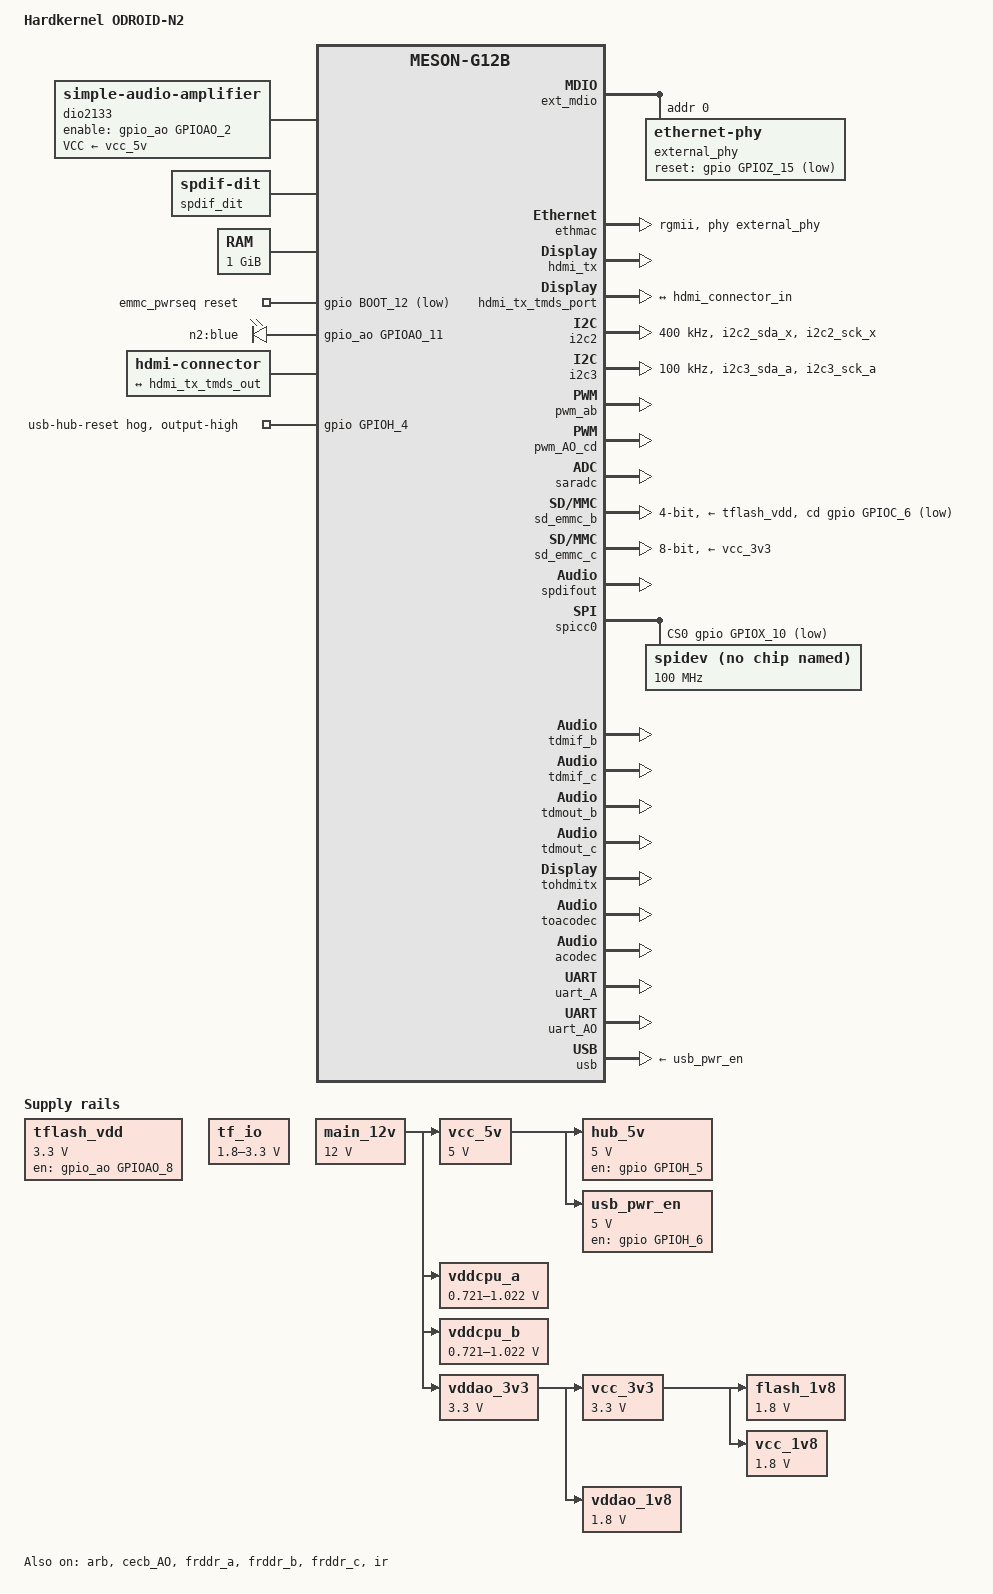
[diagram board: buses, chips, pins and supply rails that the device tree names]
// SPDX-License-Identifier: (GPL-2.0+ OR MIT)
/*
 * Copyright (c) 2019 BayLibre, SAS
 * Author: Neil Armstrong <narmstrong@baylibre.com>
 */

/dts-v1/;

#include "meson-g12b-s922x.dtsi"
#include <dt-bindings/input/input.h>
#include <dt-bindings/gpio/meson-g12a-gpio.h>
#include <dt-bindings/sound/meson-g12a-tohdmitx.h>
#include <dt-bindings/sound/meson-g12a-toacodec.h>

/ {
	compatible = "hardkernel,odroid-n2", "amlogic,g12b";
	model = "Hardkernel ODROID-N2";

	aliases {
		ethernet0 = &ethmac;
		i2c0 = &i2c2;
		i2c1 = &i2c3;
		serial0 = &uart_AO;
		serial1 = &uart_A;
		spi0 = &spicc0;
	};

	dio2133: audio-amplifier-0 {
		compatible = "simple-audio-amplifier";
		enable-gpios = <&gpio_ao GPIOAO_2 GPIO_ACTIVE_HIGH>;
		VCC-supply = <&vcc_5v>;
		sound-name-prefix = "AMP";
	};

	spdif_dit: audio-codec-1 {
		#sound-dai-cells = <0>;
		compatible = "linux,spdif-dit";
		status = "okay";
		sound-name-prefix = "DIT";
	};

	chosen {
		stdout-path = "serial0:115200n8";
	};

	memory@0 {
		device_type = "memory";
		reg = <0x0 0x0 0x0 0x40000000>;
	};

	emmc_pwrseq: emmc-pwrseq {
		compatible = "mmc-pwrseq-emmc";
		reset-gpios = <&gpio BOOT_12 GPIO_ACTIVE_LOW>;
	};

	leds {
		compatible = "gpio-leds";

		blue {
			label = "n2:blue";
			gpios = <&gpio_ao GPIOAO_11 GPIO_ACTIVE_HIGH>;
			linux,default-trigger = "heartbeat";
		};
	};

	tflash_vdd: regulator-tflash_vdd {
		compatible = "regulator-fixed";

		regulator-name = "TFLASH_VDD";
		regulator-min-microvolt = <3300000>;
		regulator-max-microvolt = <3300000>;

		gpio = <&gpio_ao GPIOAO_8 GPIO_ACTIVE_HIGH>;
		enable-active-high;
		regulator-always-on;
	};

	tf_io: gpio-regulator-tf_io {
		compatible = "regulator-gpio";

		regulator-name = "TF_IO";
		regulator-min-microvolt = <1800000>;
		regulator-max-microvolt = <3300000>;

		gpios = <&gpio_ao GPIOAO_9 GPIO_ACTIVE_HIGH>;
		gpios-states = <0>;

		states = <3300000 0>,
			 <1800000 1>;
	};

	flash_1v8: regulator-flash_1v8 {
		compatible = "regulator-fixed";
		regulator-name = "FLASH_1V8";
		regulator-min-microvolt = <1800000>;
		regulator-max-microvolt = <1800000>;
		vin-supply = <&vcc_3v3>;
		regulator-always-on;
	};

	main_12v: regulator-main_12v {
		compatible = "regulator-fixed";
		regulator-name = "12V";
		regulator-min-microvolt = <12000000>;
		regulator-max-microvolt = <12000000>;
		regulator-always-on;
	};

	vcc_5v: regulator-vcc_5v {
		compatible = "regulator-fixed";
		regulator-name = "5V";
		regulator-min-microvolt = <5000000>;
		regulator-max-microvolt = <5000000>;
		regulator-always-on;
		vin-supply = <&main_12v>;
	};

	vcc_1v8: regulator-vcc_1v8 {
		compatible = "regulator-fixed";
		regulator-name = "VCC_1V8";
		regulator-min-microvolt = <1800000>;
		regulator-max-microvolt = <1800000>;
		vin-supply = <&vcc_3v3>;
		regulator-always-on;
	};

	vcc_3v3: regulator-vcc_3v3 {
		compatible = "regulator-fixed";
		regulator-name = "VCC_3V3";
		regulator-min-microvolt = <3300000>;
		regulator-max-microvolt = <3300000>;
		vin-supply = <&vddao_3v3>;
		regulator-always-on;
		/* FIXME: actually controlled by VDDCPU_B_EN */
	};

	vddcpu_a: regulator-vddcpu-a {
		/*
		 * MP8756GD Regulator.
		 */
		compatible = "pwm-regulator";

		regulator-name = "VDDCPU_A";
		regulator-min-microvolt = <721000>;
		regulator-max-microvolt = <1022000>;

		vin-supply = <&main_12v>;

		pwms = <&pwm_ab 0 1250 0>;
		pwm-dutycycle-range = <100 0>;

		regulator-boot-on;
		regulator-always-on;
	};

	vddcpu_b: regulator-vddcpu-b {
		/*
		 * Silergy SY8120B1ABC Regulator.
		 */
		compatible = "pwm-regulator";

		regulator-name = "VDDCPU_B";
		regulator-min-microvolt = <721000>;
		regulator-max-microvolt = <1022000>;

		vin-supply = <&main_12v>;

		pwms = <&pwm_AO_cd 1 1250 0>;
		pwm-dutycycle-range = <100 0>;

		regulator-boot-on;
		regulator-always-on;
	};

	hub_5v: regulator-hub_5v {
		compatible = "regulator-fixed";
		regulator-name = "HUB_5V";
		regulator-min-microvolt = <5000000>;
		regulator-max-microvolt = <5000000>;
		vin-supply = <&vcc_5v>;

		/* Connected to the Hub CHIPENABLE, LOW sets low power state */
		gpio = <&gpio GPIOH_5 GPIO_ACTIVE_HIGH>;
		enable-active-high;
	};

	usb_pwr_en: regulator-usb_pwr_en {
		compatible = "regulator-fixed";
		regulator-name = "USB_PWR_EN";
		regulator-min-microvolt = <5000000>;
		regulator-max-microvolt = <5000000>;
		vin-supply = <&vcc_5v>;

		/* Connected to the microUSB port power enable */
		gpio = <&gpio GPIOH_6 GPIO_ACTIVE_HIGH>;
		enable-active-high;
	};

	vddao_1v8: regulator-vddao_1v8 {
		compatible = "regulator-fixed";
		regulator-name = "VDDAO_1V8";
		regulator-min-microvolt = <1800000>;
		regulator-max-microvolt = <1800000>;
		vin-supply = <&vddao_3v3>;
		regulator-always-on;
	};

	vddao_3v3: regulator-vddao_3v3 {
		compatible = "regulator-fixed";
		regulator-name = "VDDAO_3V3";
		regulator-min-microvolt = <3300000>;
		regulator-max-microvolt = <3300000>;
		vin-supply = <&main_12v>;
		regulator-always-on;
	};

	hdmi-connector {
		compatible = "hdmi-connector";
		type = "a";

		port {
			hdmi_connector_in: endpoint {
				remote-endpoint = <&hdmi_tx_tmds_out>;
			};
		};
	};

	sound {
		compatible = "amlogic,axg-sound-card";
		model = "G12B-ODROID-N2";
		audio-aux-devs = <&tdmout_b>, <&tdmout_c>, <&dio2133>;
		audio-routing = "TDMOUT_B IN 0", "FRDDR_A OUT 1",
				"TDMOUT_B IN 1", "FRDDR_B OUT 1",
				"TDMOUT_B IN 2", "FRDDR_C OUT 1",
				"TDM_B Playback", "TDMOUT_B OUT",
				"TDMOUT_C IN 0", "FRDDR_A OUT 2",
				"TDMOUT_C IN 1", "FRDDR_B OUT 2",
				"TDMOUT_C IN 2", "FRDDR_C OUT 2",
				"TDM_C Playback", "TDMOUT_C OUT",
				"SPDIFOUT IN 0", "FRDDR_A OUT 3",
				"SPDIFOUT IN 1", "FRDDR_B OUT 3",
				"SPDIFOUT IN 2", "FRDDR_C OUT 3",
				"AMP INL", "ACODEC LOLP",
				"AMP INR", "ACODEC LORP";

		assigned-clocks = <&clkc CLKID_HIFI_PLL>,
				  <&clkc CLKID_MPLL0>,
				  <&clkc CLKID_MPLL1>;
		assigned-clock-parents = <0>, <0>, <0>;
		assigned-clock-rates = <589824000>,
				       <270950400>,
				       <393216000>;

		status = "okay";

		dai-link-0 {
			sound-dai = <&frddr_a>;
		};

		dai-link-1 {
			sound-dai = <&frddr_b>;
		};

		dai-link-2 {
			sound-dai = <&frddr_c>;
		};

		dai-link-3 {
			sound-dai = <&tdmif_b>;
			dai-format = "i2s";
			dai-tdm-slot-tx-mask-0 = <1 1>;
			mclk-fs = <256>;

			codec@0 {
				sound-dai = <&tohdmitx TOHDMITX_I2S_IN_B>;
			};
		};

		dai-link-4 {
			sound-dai = <&tdmif_c>;
			dai-format = "i2s";
			dai-tdm-slot-tx-mask-0 = <1 1>;
			mclk-fs = <256>;

			codec@0 {
				sound-dai = <&toacodec TOACODEC_IN_C>;
			};
		};

		dai-link-5 {
			sound-dai = <&spdifout>;

			codec@0 {
				sound-dai = <&spdif_dit>;
			};
		};

		dai-link-6 {
			sound-dai = <&tohdmitx TOHDMITX_I2S_OUT>;

			codec@0 {
				sound-dai = <&hdmi_tx>;
			};
		};

		dai-link-7 {
			sound-dai = <&toacodec TOACODEC_OUT>;

			codec@0 {
				sound-dai = <&acodec>;
			};
		};
	};
};

&arb {
	status = "okay";
};

&cec_AO {
	pinctrl-0 = <&cec_ao_a_h_pins>;
	pinctrl-names = "default";
	status = "disabled";
	hdmi-phandle = <&hdmi_tx>;
};

&cecb_AO {
	pinctrl-0 = <&cec_ao_b_h_pins>;
	pinctrl-names = "default";
	status = "okay";
	hdmi-phandle = <&hdmi_tx>;
};

&clkc_audio {
	status = "okay";
};

&cpu0 {
	cpu-supply = <&vddcpu_b>;
	operating-points-v2 = <&cpu_opp_table_0>;
	clocks = <&clkc CLKID_CPU_CLK>;
	clock-latency = <50000>;
	#cooling-cells = <2>;
};

&cpu1 {
	cpu-supply = <&vddcpu_b>;
	operating-points-v2 = <&cpu_opp_table_0>;
	clocks = <&clkc CLKID_CPU_CLK>;
	clock-latency = <50000>;
};

&cpu100 {
	cpu-supply = <&vddcpu_a>;
	operating-points-v2 = <&cpub_opp_table_1>;
	clocks = <&clkc CLKID_CPUB_CLK>;
	clock-latency = <50000>;
	#cooling-cells = <2>;
};

&cpu101 {
	cpu-supply = <&vddcpu_a>;
	operating-points-v2 = <&cpub_opp_table_1>;
	clocks = <&clkc CLKID_CPUB_CLK>;
	clock-latency = <50000>;
};

&cpu102 {
	cpu-supply = <&vddcpu_a>;
	operating-points-v2 = <&cpub_opp_table_1>;
	clocks = <&clkc CLKID_CPUB_CLK>;
	clock-latency = <50000>;
};

&cpu103 {
	cpu-supply = <&vddcpu_a>;
	operating-points-v2 = <&cpub_opp_table_1>;
	clocks = <&clkc CLKID_CPUB_CLK>;
	clock-latency = <50000>;
};

&cpu_opp_table_0 {
	opp-1992000000 {
		opp-hz = /bits/ 64 <1992000000>;
		opp-microvolt = <1001000>;
	};
};

&cpub_opp_table_1 {
	opp-1800000000 {
		opp-hz = /bits/ 64 <1800000000>;
		opp-microvolt = <981000>;
	};

        opp-1908000000 {
                opp-hz = /bits/ 64 <1908000000>;
                opp-microvolt = <1022000>;
        };

        opp-2016000000 {
                opp-hz = /bits/ 64 <2016000000>;
                opp-microvolt = <1022000>;
        };
};

&cpu_thermal {
	trips {
		cpu_warm: cpu-warm {
			temperature = <70000>; /* millicelsius */
			hysteresis = <2000>; /* millicelsius */
			type = "passive";
		};
	};
	cooling-maps {
		cpufreq_map0 {
			trip = <&cpu_warm>;
			contribution = <1024>;
			cooling-device = <&cpu0 THERMAL_NO_LIMIT THERMAL_NO_LIMIT>;
		};
		cpufreq_map1 {
			trip = <&cpu_warm>;
			contribution = <1024>;
			cooling-device = <&cpu100 THERMAL_NO_LIMIT THERMAL_NO_LIMIT>;
		};
	};
};

&ext_mdio {
	external_phy: ethernet-phy@0 {
		/* Realtek RTL8211F (0x001cc916) */
		reg = <0>;
		max-speed = <1000>;

		reset-assert-us = <10000>;
		reset-deassert-us = <30000>;
		reset-gpios = <&gpio GPIOZ_15 (GPIO_ACTIVE_LOW | GPIO_OPEN_DRAIN)>;

		interrupt-parent = <&gpio_intc>;
		/* MAC_INTR on GPIOZ_14 */
		interrupts = <26 IRQ_TYPE_LEVEL_LOW>;
	};
};

&ethmac {
	pinctrl-0 = <&eth_pins>, <&eth_rgmii_pins>;
	pinctrl-names = "default";
	status = "okay";
	phy-mode = "rgmii";
	phy-handle = <&external_phy>;
	amlogic,tx-delay-ns = <2>;
};

&frddr_a {
	status = "okay";
};

&frddr_b {
	status = "okay";
};

&frddr_c {
	status = "okay";
};

&gpio {
	gpio-line-names =
		/* GPIOZ */
		"", "", "", "", "", "", "", "",
		"", "", "", "", "", "", "", "",
		/* GPIOH */
		"", "", "", "", "", "", "", "",
		"",
		/* BOOT */
		"", "", "", "", "", "", "", "",
		"", "", "", "", "", "", "", "",
		/* GPIOC */
		"", "", "", "", "", "", "", "",
		/* GPIOA */
		"PIN_44", /* GPIOA_0 */
		"PIN_46", /* GPIOA_1 */
		"PIN_45", /* GPIOA_2 */
		"PIN_47", /* GPIOA_3 */
		"PIN_26", /* GPIOA_4 */
		"", "", "", "", "", "",
		"PIN_42", /* GPIOA_11 */
		"PIN_32", /* GPIOA_12 */
		"PIN_7",  /* GPIOA_13 */
		"PIN_27", /* GPIOA_14 */
		"PIN_28", /* GPIOA_15 */
		/* GPIOX */
		"PIN_16", /* GPIOX_0 */
		"PIN_18", /* GPIOX_1 */
		"PIN_22", /* GPIOX_2 */
		"PIN_11", /* GPIOX_3 */
		"PIN_13", /* GPIOX_4 */
		"PIN_33", /* GPIOX_5 */
		"PIN_35", /* GPIOX_6 */
		"PIN_15", /* GPIOX_7 */
		"PIN_19", /* GPIOX_8 */
		"PIN_21", /* GPIOX_9 */
		"PIN_24", /* GPIOX_10 */
		"PIN_23", /* GPIOX_11 */
		"PIN_8",  /* GPIOX_12 */
		"PIN_10", /* GPIOX_13 */
		"PIN_29", /* GPIOX_14 */
		"PIN_31", /* GPIOX_15 */
		"PIN_12", /* GPIOX_16 */
		"PIN_3",  /* GPIOX_17 */
		"PIN_5",  /* GPIOX_18 */
		"PIN_36"; /* GPIOX_19 */
	/*
	 * WARNING: The USB Hub on the Odroid-N2 needs a reset signal
	 * to be turned high in order to be detected by the USB Controller
	 * This signal should be handled by a USB specific power sequence
	 * in order to reset the Hub when USB bus is powered down.
	 */
	usb-hub {
		gpio-hog;
		gpios = <GPIOH_4 GPIO_ACTIVE_HIGH>;
		output-high;
		line-name = "usb-hub-reset";
	};
};

&hdmi_tx {
	status = "okay";
	pinctrl-0 = <&hdmitx_hpd_pins>, <&hdmitx_ddc_pins>;
	pinctrl-names = "default";
	hdmi-supply = <&vcc_5v>;
};

&hdmi_tx_tmds_port {
	hdmi_tx_tmds_out: endpoint {
		remote-endpoint = <&hdmi_connector_in>;
	};
};

&i2c2 {
	status = "okay";

	/*
	 * 40 Pin Header : SDA(GPIOX.17->3 Pin)
	 *		   SCL(GPIOX.18->5 Pin)
	 */
	pinctrl-names = "default";
	pinctrl-0 = <&i2c2_master_pins1>;

	/* default 400k */
	clock-frequency = <400000>;
};

&i2c3 {
	/* default i2c clock-frequency is 100Khz */
	status = "okay";

	/*
	 * 40 Pin Header : SDA(GPIOA.14->27 Pin)
	 *		   SCL(GPIOA.15->28 Pin)
	 */
	pinctrl-names = "default";
	pinctrl-0 = <&i2c3_master_pins2>;

	/* default 100k */
	clock-frequency = <100000>;
};

&ir {
	status = "okay";
	pinctrl-0 = <&remote_input_ao_pins>;
	pinctrl-names = "default";
	linux,rc-map-name = "rc-odroid";
};

&periphs_pinctrl {
	i2c2_master_pins1:i2c2-master-pins1 {
		mux {
			groups = "i2c2_sda_x",
				"i2c2_sck_x";
			function = "i2c2";
			bias-pull-up;
			drive-strength-microamp = <3000>;
		};
	};

	i2c3_master_pins2:i2c2-master-pins2 {
		mux {
			groups = "i2c3_sda_a",
				"i2c3_sck_a";
			function = "i2c3";
			bias-pull-up;
			drive-strength-microamp = <3000>;
		};
	};
};

&pwm_ab {
	pinctrl-0 = <&pwm_a_e_pins>;
	pinctrl-names = "default";
	clocks = <&xtal>;
	clock-names = "clkin0";
	status = "okay";
};

&pwm_AO_cd {
	pinctrl-0 = <&pwm_ao_d_e_pins>;
	pinctrl-names = "default";
	clocks = <&xtal>;
	clock-names = "clkin1";
	status = "okay";
};

&saradc {
	status = "okay";
};

/* SD card */
&sd_emmc_b {
	status = "okay";
	pinctrl-0 = <&sdcard_c_pins>;
	pinctrl-1 = <&sdcard_clk_gate_c_pins>;
	pinctrl-names = "default", "clk-gate";

	bus-width = <4>;
	cap-sd-highspeed;
	max-frequency = <200000000>;
	sd-uhs-sdr12;
	sd-uhs-sdr25;
	sd-uhs-sdr50;
	sd-uhs-sdr104;
	disable-wp;

	cd-gpios = <&gpio GPIOC_6 GPIO_ACTIVE_LOW>;
	vmmc-supply = <&tflash_vdd>;
	vqmmc-supply = <&tf_io>;

};

/* eMMC */
&sd_emmc_c {
	status = "okay";
	pinctrl-0 = <&emmc_pins>, <&emmc_ds_pins>;
	pinctrl-1 = <&emmc_clk_gate_pins>;
	pinctrl-names = "default", "clk-gate";

	bus-width = <8>;
	cap-mmc-highspeed;
	mmc-ddr-1_8v;
	mmc-hs200-1_8v;
	max-frequency = <200000000>;
	disable-wp;

	mmc-pwrseq = <&emmc_pwrseq>;
	vmmc-supply = <&vcc_3v3>;
	vqmmc-supply = <&flash_1v8>;
};

&spdifout {
	pinctrl-0 = <&spdif_out_a13_pins>;
	pinctrl-names = "default";
	status = "okay";
};

&spicc0 {
	status = "okay";

	/*
	 * 40 Pin Header : MOSI(GPIOX.8->19 Pin),
	 *		   MISO(GPIOX.9->21 Pin),
	 *		   SPI0_CLK(GPIOX.11->23 Pin)
	 *		   SPI_CS0(GPIOX.10->24 Pin)
	 *		   SPI_CS1(GPIOA.4->26 Pin)
	 */
	pinctrl-names = "default","gpio_periphs";
	pinctrl-0 = <&spicc0_x_pins>;
	pinctrl-1 = <&spicc0_ss0_x_pins>;
	num_chipselect = <1>;

	cs-gpios = <&gpio GPIOX_10 GPIO_ACTIVE_LOW>;

	spidev@0 {
		status = "okay";

		compatible = "linux,spidev";
		/* spi default max clock 100Mhz */
		spi-max-frequency = <100000000>;
		reg = <0>;
	};
};

&tdmif_b {
	pinctrl-0 = <&mclk0_a_pins>, <&tdm_b_fs_pins>, <&tdm_b_sclk_pins>,
		    <&tdm_b_dout0_pins>;
	pinctrl-names = "default";
	status = "okay";

	assigned-clocks = <&clkc_audio AUD_CLKID_TDM_MCLK_PAD0>,
			  <&clkc_audio AUD_CLKID_TDM_SCLK_PAD1>,
			  <&clkc_audio AUD_CLKID_TDM_LRCLK_PAD1>;
	assigned-clock-parents = <&clkc_audio AUD_CLKID_MST_B_MCLK>,
				 <&clkc_audio AUD_CLKID_MST_B_SCLK>,
				 <&clkc_audio AUD_CLKID_MST_B_LRCLK>;
	assigned-clock-rates = <0>, <0>, <0>;
};

&tdmif_c {
	status = "okay";
	assigned-clocks = <&clkc_audio AUD_CLKID_TDM_MCLK_PAD1>,
			  <&clkc_audio AUD_CLKID_TDM_SCLK_PAD2>,
			  <&clkc_audio AUD_CLKID_TDM_LRCLK_PAD2>;
	assigned-clock-parents = <&clkc_audio AUD_CLKID_MST_C_MCLK>,
				 <&clkc_audio AUD_CLKID_MST_C_SCLK>,
				 <&clkc_audio AUD_CLKID_MST_C_LRCLK>;
	assigned-clock-rates = <0>, <0>, <0>;
};

&tdmout_b {
	status = "okay";
};

&tdmout_c {
	status = "okay";
};

&tohdmitx {
	status = "okay";
};

&toacodec {
	status = "okay";
};

&acodec {
	status = "okay";
};

&uart_A {
	status = "okay";
	pinctrl-names = "default";
	pinctrl-0 = <&uart_a_pins>;
};

&uart_AO {
	status = "okay";
	pinctrl-0 = <&uart_ao_a_pins>;
	pinctrl-names = "default";
};

&usb {
	status = "okay";
	vbus-supply = <&usb_pwr_en>;
};

&usb2_phy0 {
	phy-supply = <&vcc_5v>;
};

&usb2_phy1 {
	/* Enable the hub which is connected to this port */
	phy-supply = <&hub_5v>;
};
